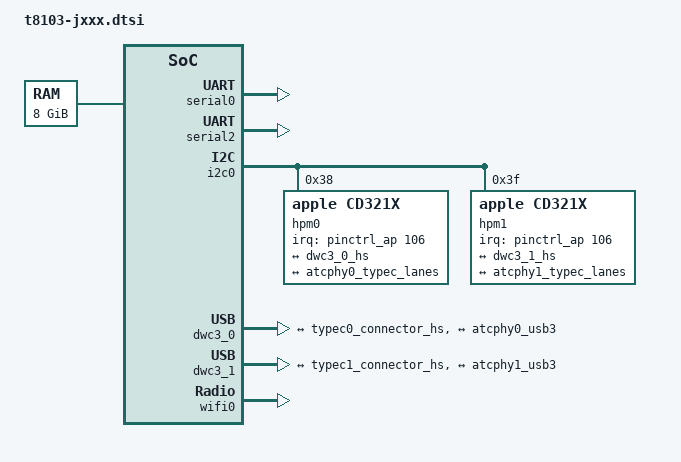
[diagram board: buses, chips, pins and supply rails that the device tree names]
// SPDX-License-Identifier: GPL-2.0+ OR MIT
/*
 * Apple M1 Mac mini, MacBook Air/Pro, iMac 24" (M1, 2020/2021)
 *
 * This file contains parts common to all Apple M1 devices using the t8103.
 *
 * target-type: J274, J293, J313, J456, J457
 *
 * Copyright The Asahi Linux Contributors
 */

/ {
	aliases {
		bluetooth0 = &bluetooth0;
		serial0 = &serial0;
		serial2 = &serial2;
		wifi0 = &wifi0;
		atcphy0 = &atcphy0;
		atcphy1 = &atcphy1;
	};

	chosen {
		#address-cells = <2>;
		#size-cells = <2>;
		ranges;

		stdout-path = "serial0";

		framebuffer0: framebuffer@0 {
			compatible = "apple,simple-framebuffer", "simple-framebuffer";
			reg = <0 0 0 0>; /* To be filled by loader */
			/* Format properties will be added by loader */
			status = "disabled";
		};
	};

	memory@800000000 {
		device_type = "memory";
		reg = <0x8 0 0x2 0>; /* To be filled by loader */
	};
};

&serial0 {
	status = "okay";
};

&serial2 {
	status = "okay";
};

&i2c0 {
	hpm0: usb-pd@38 {
		compatible = "apple,cd321x";
		reg = <0x38>;
		interrupt-parent = <&pinctrl_ap>;
		interrupts = <106 IRQ_TYPE_LEVEL_LOW>;
		interrupt-names = "irq";

		typec0: connector {
			compatible = "usb-c-connector";
			power-role = "dual";
			data-role = "dual";

			ports {
				#address-cells = <1>;
				#size-cells = <0>;
				port@0 {
					reg = <0>;
					typec0_connector_hs: endpoint {
						remote-endpoint = <&dwc3_0_hs>;
					};
				};
				port@1 {
					reg = <1>;
					typec0_connector_ss: endpoint {
						remote-endpoint = <&atcphy0_typec_lanes>;
					};
				};
			};
		};
	};

	hpm1: usb-pd@3f {
		compatible = "apple,cd321x";
		reg = <0x3f>;
		interrupt-parent = <&pinctrl_ap>;
		interrupts = <106 IRQ_TYPE_LEVEL_LOW>;
		interrupt-names = "irq";

		typec1: connector {
			compatible = "usb-c-connector";
			power-role = "dual";
			data-role = "dual";

			ports {
				#address-cells = <1>;
				#size-cells = <0>;
				port@0 {
					reg = <0>;
					typec1_connector_hs: endpoint {
						remote-endpoint = <&dwc3_1_hs>;
					};
				};
				port@1 {
					reg = <1>;
					typec1_connector_ss: endpoint {
						remote-endpoint = <&atcphy1_typec_lanes>;
					};
				};
			};
		};
	};
};

/* USB controllers */
&dwc3_0 {
	ports {
		#address-cells = <1>;
		#size-cells = <0>;

		port@0 {
			reg = <0>;
			dwc3_0_hs: endpoint {
				remote-endpoint = <&typec0_connector_hs>;
			};
		};

		port@1 {
			reg = <1>;
			dwc3_0_ss: endpoint {
				remote-endpoint = <&atcphy0_usb3>;
			};
		};
	};
};

&dwc3_1 {
	ports {
		#address-cells = <1>;
		#size-cells = <0>;

		port@0 {
			reg = <0>;
			dwc3_1_hs: endpoint {
				remote-endpoint = <&typec1_connector_hs>;
			};
		};

		port@1 {
			reg = <1>;
			dwc3_1_ss: endpoint {
				remote-endpoint = <&atcphy1_usb3>;
			};
		};
	};
};

/* Type-C PHYs */
&atcphy0 {
	ports {
		#address-cells = <1>;
		#size-cells = <0>;

		port@0 {
			reg = <0>;
			atcphy0_typec_lanes: endpoint {
				remote-endpoint = <&typec0_connector_ss>;
			};
		};

		port@1 {
			reg = <1>;
			atcphy0_usb3: endpoint {
				remote-endpoint = <&dwc3_0_ss>;
			};
		};
	};
};

&atcphy1 {
	ports {
		#address-cells = <1>;
		#size-cells = <0>;

		port@0 {
			reg = <0>;
			atcphy1_typec_lanes: endpoint {
				remote-endpoint = <&typec1_connector_ss>;
			};
		};

		port@1 {
			reg = <1>;
			atcphy1_usb3: endpoint {
				remote-endpoint = <&dwc3_1_ss>;
			};
		};
	};
};

/*
 * Force the bus number assignments so that we can declare some of the
 * on-board devices and properties that are populated by the bootloader
 * (such as MAC addresses).
 */
&port00 {
	bus-range = <1 1>;
	wifi0: wifi@0,0 {
		compatible = "pci14e4,4425";
		reg = <0x10000 0x0 0x0 0x0 0x0>;
		/* To be filled by the loader */
		local-mac-address = [00 00 00 00 00 00];
		apple,antenna-sku = "XX";
	};

	bluetooth0: bluetooth@0,1 {
		compatible = "pci14e4,5f69";
		reg = <0x10100 0x0 0x0 0x0 0x0>;
		/* To be filled by the loader */
		local-bd-address = [00 00 00 00 00 00];
	};
};

&nco_clkref {
	clock-frequency = <900000000>;
};

#include "spi1-nvram.dtsi"
